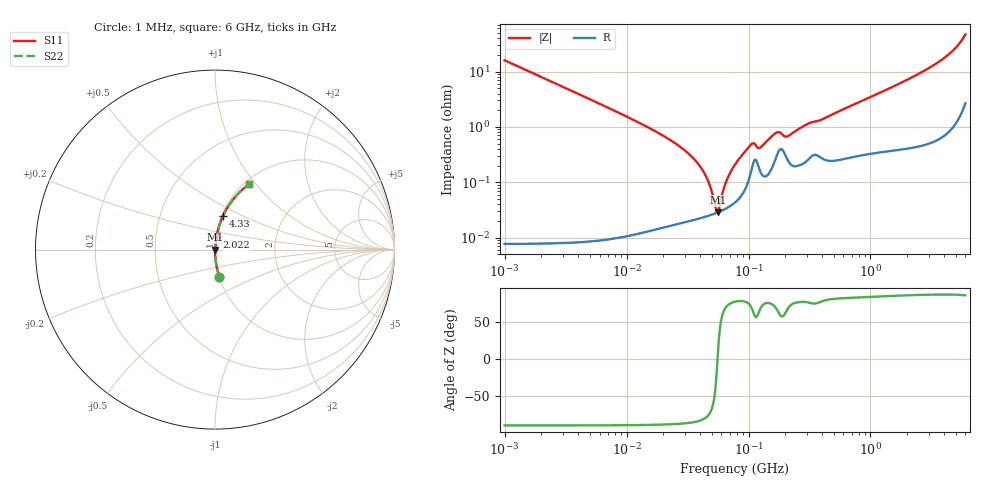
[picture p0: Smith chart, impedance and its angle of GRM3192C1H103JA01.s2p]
!Murata Part Number: GRM3192C1H103JA01
!These Parameters are Measured in Series Mode Connection
!Data Generated on Mar 30, 2021
!  o--ll--o
!Port1  Port2
!  o------o
!Operation Temp=25[degC], DC Bias Voltage=0[V]
!Freq. Start=1000[kHz] Stop=6[GHz] 401[Steps]
# Hz S RI R 50
!Freq.(Hz) S11(Real) S11(Imag) S21(Real) S21(Imag) S12(Real) S12(Imag) S22(Real) S22(Imag)
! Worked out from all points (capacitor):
!   401 points, 1 MHz to 6 GHz, reference 50 ohm
!   read as one part in series: C = 9.99 nF near 1.044 MHz
!   lowest |Z| = 28.7 mohm at 55.9 MHz (marker M1)
!   series resonance near 55.68 MHz, so ESL is about 820 pH
!   S11 on the Smith chart (normalised r, x): 1 MHz: 1.00, -0.32; 2.022 GHz: 1.01, +0.14; 4.33 GHz: 1.02, +0.40; 6 GHz: 1.05, +0.93
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1000000  0.0248 -0.1554  0.9752 0.1554  0.9752 0.1554  0.0248 -0.1554
4293785  0.00144 -0.0368  0.9986 0.0368  0.9986 0.0368  0.00144 -0.0368
1.843659e7  0.000204 -0.00767  0.9998 0.00767  0.9998 0.00767  0.000204 -0.00767
2.848316e7  0.000201 -0.00412  0.9998 0.00412  0.9998 0.00412  0.000201 -0.00412
3.8621e7  0.000223 -0.00214  0.9998 0.00214  0.9998 0.00214  0.000223 -0.00214
4.596069e7  0.000246 -0.00111  0.9998 0.00111  0.9998 0.00111  0.000246 -0.00111
4.905945e7  0.000257 -0.000733  0.9997 0.000733  0.9997 0.000733  0.000257 -0.000733
5.351853e7  0.000275 -0.00023  0.9997 0.00023  0.9997 0.00023  0.000275 -0.00023
5.589783e7  0.000286 2.28e-05  0.9997 -2.28e-05  0.9997 -2.28e-05  0.000286 2.28e-05
5.838291e7  0.000298 0.000277  0.9997 -0.000277  0.9997 -0.000277  0.000298 0.000277
6.23192e7  0.000318 0.000663  0.9997 -0.000663  0.9997 -0.000663  0.000318 0.000663
6.652088e7  0.000344 0.00106  0.9997 -0.00106  0.9997 -0.00106  0.000344 0.00106
7.745967e7  0.000435 0.00204  0.9996 -0.00204  0.9996 -0.00204  0.000435 0.00204
1.073387e8  0.00193 0.00462  0.9981 -0.00462  0.9981 -0.00462  0.00193 0.00462
1.249896e8  0.00156 0.00392  0.9984 -0.00392  0.9984 -0.00392  0.00156 0.00392
1.694764e8  0.00296 0.00728  0.997 -0.00728  0.997 -0.00728  0.00296 0.00728
2.106508e8  0.00249 0.00631  0.9975 -0.00631  0.9975 -0.00631  0.00249 0.00631
3.325952e8  0.00313 0.0117  0.9969 -0.0117  0.9969 -0.0117  0.00313 0.0117
1.428092e9  0.00605 0.049  0.994 -0.049  0.994 -0.049  0.00605 0.049
2.022471e9  0.0091 0.0708  0.9909 -0.0708  0.9909 -0.0708  0.0091 0.0708
4.329827e9  0.0452 0.1889  0.9548 -0.1889  0.9548 -0.1889  0.0452 0.1889
6e9  0.1921 0.3664  0.8079 -0.3664  0.8079 -0.3664  0.1921 0.3664
